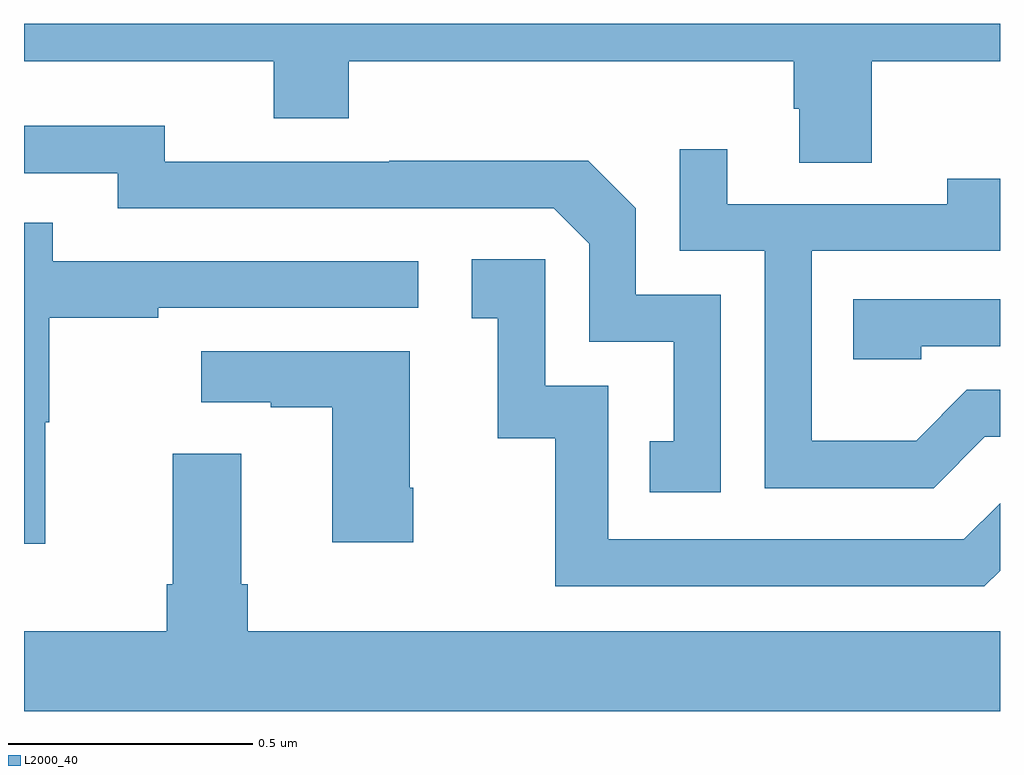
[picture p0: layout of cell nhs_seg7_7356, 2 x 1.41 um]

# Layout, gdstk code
import gdstk
lib = gdstk.Library(unit=1e-6, precision=1e-09)
def P(c, l, *ps):  # polygons
    for p in ps: c.add(gdstk.Polygon(p, *l))
L2000_40 = (2000, 40)

nhs_seg7_7356 = lib.new_cell('nhs_seg7_7356')
P(nhs_seg7_7356, L2000_40, [(211.737,1025.924),(212,1025.924),(212,1026),(210,1026),(210,1025.924),(210.512,1025.924),(210.512,1025.807),(210.665,1025.807),(210.665,1025.924),(211.577,1025.924),(211.577,1025.826),(211.589,1025.826),(211.589,1025.716),(211.737,1025.716)],
  [(211.428,1025.445),(211.254,1025.445),(211.254,1025.622),(211.156,1025.72),(210.748,1025.72),(210.748,1025.718),(210.288,1025.718),(210.288,1025.791),(210,1025.791),(210,1025.694),(210.192,1025.694),(210.192,1025.622),(211.086,1025.622),(211.158,1025.55),(211.158,1025.349),(211.331,1025.349),(211.331,1025.145),(211.282,1025.145),(211.282,1025.04),(211.428,1025.04)],
  [(211.969,1025.154),(212,1025.154),(212,1025.25),(211.932,1025.25),(211.828,1025.146),(211.614,1025.146),(211.614,1025.535),(212,1025.535),(212,1025.683),(211.892,1025.683),(211.892,1025.631),(211.441,1025.631),(211.441,1025.743),(211.344,1025.743),(211.344,1025.535),(211.518,1025.535),(211.518,1025.049),(211.864,1025.049)],
  [(210.044,1025.184),(210.052,1025.184),(210.052,1025.398),(210.275,1025.398),(210.275,1025.418),(210.808,1025.418),(210.808,1025.514),(210.059,1025.514),(210.059,1025.593),(210,1025.593),(210,1024.935),(210.044,1024.935)],
  [(212,1024.88),(212,1025.018),(211.926,1024.944),(211.197,1024.944),(211.197,1025.259),(211.068,1025.259),(211.068,1025.518),(210.918,1025.518),(210.918,1025.397),(210.971,1025.397),(210.971,1025.151),(211.089,1025.151),(211.089,1024.848),(211.968,1024.848)],
  [(211.839,1025.34),(212,1025.34),(212,1025.436),(211.699,1025.436),(211.699,1025.313),(211.839,1025.313)],
  [(210.798,1025.05),(210.79,1025.05),(210.79,1025.329),(210.363,1025.329),(210.363,1025.225),(210.506,1025.225),(210.506,1025.215),(210.632,1025.215),(210.632,1024.938),(210.798,1024.938)],
  [(212,1024.756),(210.458,1024.756),(210.458,1024.852),(210.445,1024.852),(210.445,1025.119),(210.305,1025.119),(210.305,1024.852),(210.293,1024.852),(210.293,1024.756),(210,1024.756),(210,1024.592),(212,1024.592)])

lib.write_gds('nhs_seg7_7356.gds')
